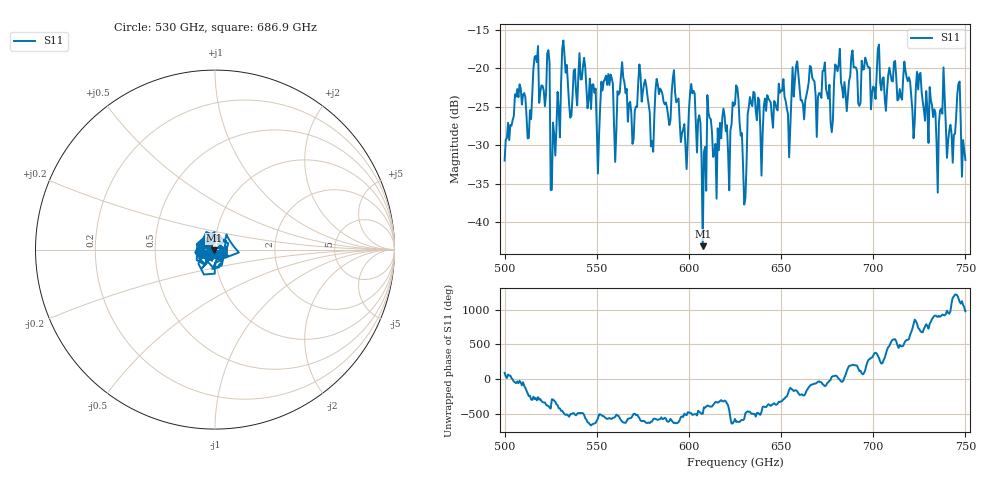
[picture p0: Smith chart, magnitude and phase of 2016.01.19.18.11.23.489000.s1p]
!Created with skrf (http://scikit-rf.org).
# GHz S RI R 50.0
!freq ReS11 ImS11
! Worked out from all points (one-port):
!   401 points, 500 GHz to 750 GHz, reference 50 ohm
!   lowest |S11| = -43.1 dB at 607.5 GHz (marker M1), VSWR 1.01, Z = 49.5 - j0.492 ohm
!   |S11| at or under -10 dB: start of sweep to end of sweep
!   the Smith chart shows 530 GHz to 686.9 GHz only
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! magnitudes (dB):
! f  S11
! 500 GHz  -32.0
! 506.9 GHz  -22.7
! 513.1 GHz  -29.1
! 516.9 GHz  -18.4
! 523.1 GHz  -18.1
! 526.2 GHz  -27.0
! 531.2 GHz  -17.5
! 550.6 GHz  -33.7
! 562.5 GHz  -23.1
! 570 GHz  -29.2
! 576.2 GHz  -21.5
! 580 GHz  -29.5
! 583.1 GHz  -22.1
! 593.8 GHz  -24.2
! 598.1 GHz  -30.3
! 601.9 GHz  -23.3
! 607.5 GHz  -43.1
! 611.2 GHz  -26.4
! 614.4 GHz  -29.8
! 625 GHz  -24.7
! 630 GHz  -37.7
! 634.4 GHz  -24.9
! 656.2 GHz  -19.8
! 687.5 GHz  -21.0
! 718.8 GHz  -21.7
! 734.4 GHz  -29.9
! 746.2 GHz  -22.0
! 750 GHz  -31.9
